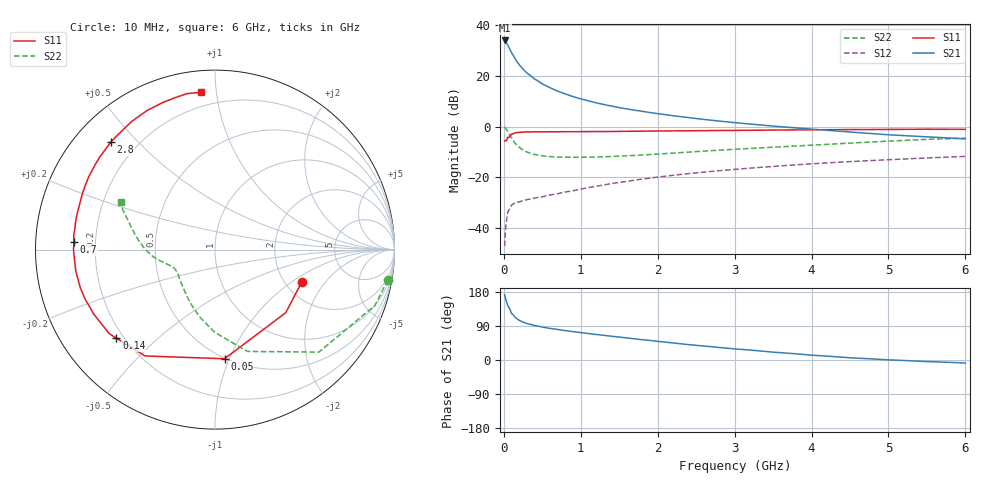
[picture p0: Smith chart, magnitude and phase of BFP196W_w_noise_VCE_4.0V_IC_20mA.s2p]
! Infineon Technologies  Discrete & RF Semiconductors
! BFP196W
! VCE =  4.0 V,  IC =  20 mA
! Common Emitter S-Parameters:  Jan 2017
# GHz  S  MA  R  50
!  f  S11  S21  S12  S22
! GHz  MAG  ANG  MAG  ANG  MAG  ANG  MAG  ANG
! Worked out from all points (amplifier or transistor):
!   77 points, 10 MHz to 6 GHz, reference 50 ohm
!   highest |S21| = 34.0 dB at 10 MHz (marker M1)
!   |S21| within 3 dB of that: start of sweep to 70.6 MHz
!   unconditionally stable (mu >= 1): 959 MHz to 3.244 GHz
!   at 130 MHz: K = 0.24, MSG = 29.1 dB, |S12| = -30.5 dB
!   at 2.2 GHz: K = 1.06, MAG = 10.3 dB, |S12| = -19.3 dB
!   at 6 GHz: K = 0.92, MSG = 3.5 dB, |S12| = -11.8 dB
!   lowest NFmin = 1.02 dB at 450 MHz
!   S11 on the Smith chart (normalised r, x): 10 MHz: 2.45, -1.20; 50 MHz: 0.50, -0.96; 140 MHz: 0.17, -0.37; 700 MHz: 0.12, +0.03; 2.8 GHz: 0.11, +0.42; 6 GHz: 0.12, +0.91
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0.01  0.5159 -20.4  50.31 172.5  0.0043 82.2  0.9774 -10.0
0.02  0.5282 -41.7  48.84 163.7  0.0086 74.4  0.9435 -19.3
0.05  0.6105 -85.0  41.15 143.5  0.0199 57.3  0.8131 -44.6
0.1  0.709 -123.3  28.99 122.8  0.0279 42.3  0.5955 -72.3
0.14  0.7383 -138.1  22.83 114.6  0.0305 36.8  0.4846 -85.7
0.15  0.7529 -141.6  21.39 111.8  0.0312 35.6  0.4622 -90.0
0.2  0.7655 -152.2  16.66 104.7  0.0322 32.9  0.3891 -102.0
0.25  0.7745 -159.4  13.59 99.8  0.0344 32.2  0.3422 -111.3
0.3  0.78 -164.3  11.44 96.3  0.0357 33.5  0.3126 -118.4
0.4  0.7849 -171.2  8.7 90.9  0.0385 35.9  0.2792 -128.9
0.5  0.785 -176.1  6.986 86.9  0.0407 37.9  0.2631 -136.0
0.6  0.7883 -180.0  5.848 83.5  0.0442 40.1  0.2544 -141.4
0.7  0.7872 176.9  5.011 80.5  0.0469 43.2  0.2482 -145.1
0.9  0.7897 171.2  3.899 74.8  0.0537 46.9  0.2466 -150.0
1.1  0.7934 166.5  3.211 69.9  0.0619 49.5  0.2479 -153.5
1.5  0.8004 158.0  2.368 60.5  0.0782 52.3  0.2591 -158.9
2.1  0.8158 146.2  1.714 47.2  0.1041 52.6  0.2911 -165.4
2.8  0.834 134.1  1.28 33.0  0.1336 49.7  0.3401 -172.5
3.1  0.8388 129.3  1.156 27.8  0.146 47.8  0.3613 -175.9
4.1  0.863 114.8  0.864 11.5  0.1868 41.2  0.4353 172.0
5.1  0.8765 103.7  0.673 -0.5  0.2239 33.8  0.5223 160.2
6  0.8793 95.1  0.569 -7.9  0.2566 26.9  0.5865 153.4
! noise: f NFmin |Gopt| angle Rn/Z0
0.45  1.02  0.4  170  0.05
0.9  1.2  0.51  178  0.05
1.9  2.11  0.69  -155  0.11
2.4  2.55  0.74  -147  0.2
